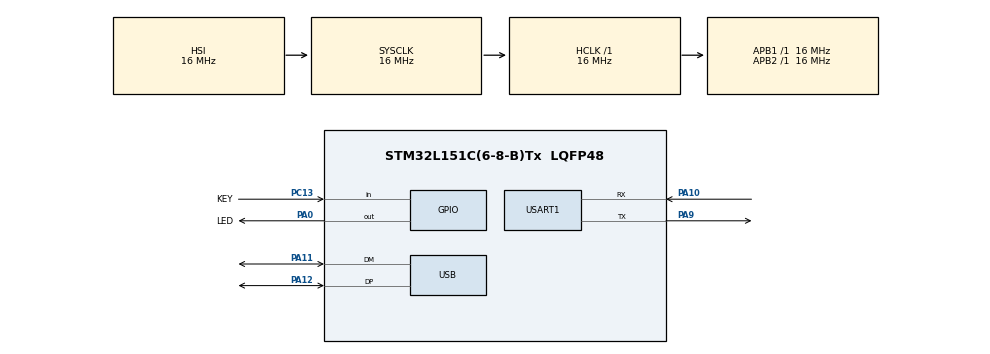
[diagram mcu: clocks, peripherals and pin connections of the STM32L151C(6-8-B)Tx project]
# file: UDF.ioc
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Mcu.Family=STM32L1
Mcu.Name=STM32L151C(6-8-B)Tx
Mcu.Package=LQFP48
NVIC.PriorityGroup=NVIC_PRIORITYGROUP_4
NVIC.USB_LP_IRQn=true\:0\:0\:false\:false\:true\:false\:true\:true
PA0-WKUP1.GPIO_Label=LED
PA0-WKUP1.Signal=GPIO_Output
PA10.Mode=Asynchronous
PA10.Signal=USART1_RX
PA11.Mode=Device
PA11.Signal=USB_DM
PA12.Mode=Device
PA12.Signal=USB_DP
PA13.Mode=Serial_Wire
PA13.Signal=SYS_JTMS-SWDIO
PA14.Mode=Serial_Wire
PA14.Signal=SYS_JTCK-SWCLK
PA9.Mode=Asynchronous
PA9.Signal=USART1_TX
PC13-WKUP2.GPIO_Label=KEY
PC13-WKUP2.GPIO_PuPd=GPIO_PULLUP
PC13-WKUP2.Signal=GPIO_Input
PC14-OSC32_IN.Mode=LSE-External-Oscillator
PC14-OSC32_IN.Signal=RCC_OSC32_IN
PC15-OSC32_OUT.Mode=LSE-External-Oscillator
PC15-OSC32_OUT.Signal=RCC_OSC32_OUT
PH0-OSC_IN.Mode=HSE-External-Oscillator
PH0-OSC_IN.Signal=RCC_OSC_IN
PH1-OSC_OUT.Mode=HSE-External-Oscillator
PH1-OSC_OUT.Signal=RCC_OSC_OUT
ProjectManager.HeapSize=0x200
ProjectManager.StackSize=0x400
ProjectManager.TargetToolchain=MDK-ARM V5.32
RCC.48MHZClocksFreq_Value=48000000
RCC.AHBFreq_Value=16000000
RCC.APB1Freq_Value=16000000
RCC.APB1TimFreq_Value=16000000
RCC.APB2Freq_Value=16000000
RCC.APB2TimFreq_Value=16000000
RCC.HCLKFreq_Value=16000000
RCC.HSE_VALUE=12000000
RCC.HSI_VALUE=16000000
RCC.MSI_VALUE=2097000
RCC.PLLMUL=RCC_PLL_MUL8
RCC.SYSCLKFreq_VALUE=16000000
RCC.SYSCLKSource=RCC_SYSCLKSOURCE_HSI
RCC.VCOOutputFreq_Value=96000000
USART1.VirtualMode=VM_ASYNC
USB.low_power_enable=DISABLE
USB.lpm_enable=DISABLE
USB_DEVICE.CLASS_NAME_FS=DFU
USB_DEVICE.MANUFACTURER_STRING=MadeByVecang
USB_DEVICE.USBD_DFU_APP_DEFAULT_ADD=0x08007000
USB_DEVICE.VirtualMode=Dfu
USB_DEVICE.VirtualModeFS=Dfu_FS
VP_USB_DEVICE_VS_USB_DEVICE_DFU_FS.Mode=DFU_FS
board=custom

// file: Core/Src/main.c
/* USER CODE BEGIN Header */
/**
 ******************************************************************************
 * @file           : main.c
 * @brief          : Main program body
 ******************************************************************************
 * @attention
 *
 * Copyright (c) 2024 STMicroelectronics.
 * All rights reserved.
 *
 * This software is licensed under terms that can be found in the LICENSE file
 * in the root directory of this software component.
 * If no LICENSE file comes with this software, it is provided AS-IS.
 *
 ******************************************************************************
 */
/* USER CODE END Header */
#include "main.h"
#include "usart.h"
#include "usb_device.h"
#include "gpio.h"

void SystemClock_Config(void);
/* USER CODE BEGIN PFP */
typedef void (*pFunction)(void);
/* USER CODE END PFP */

/* USER CODE BEGIN 0 */

#ifdef __GNUC__
#define PUTCHAR_PROTOTYPE int __io_putchar(int ch)
#else
#define PUTCHAR_PROTOTYPE int fputc(int ch, FILE *f)
#endif

PUTCHAR_PROTOTYPE
{
    HAL_UART_Transmit(&huart1, (uint8_t *)&ch, 1, 0xFFFF);
    return ch;
}
/* USER CODE END 0 */

int main(void)
{
  /* USER CODE BEGIN 1 */
#ifdef BOOT
  pFunction JumpToApplication;
  uint32_t JumpAddress;
#endif

  /* USER CODE END 1 */

  /* MCU Configuration--------------------------------------------------------*/

  /* Reset of all peripherals, Initializes the Flash interface and the Systick. */
  HAL_Init();

  /* Configure the system clock */
  SystemClock_Config();

  /* Initialize all configured peripherals */
  MX_GPIO_Init();

#ifdef BOOT
  MX_USB_DEVICE_Init();
#endif
  MX_USART1_UART_Init();
  /* USER CODE BEGIN 2 */

#ifdef APP
 printf("\r\n****** USB-DFU APP test******\r\n\r\n");
#endif

#ifdef BOOT
  printf("\r\n****** USB-DFU Example ******\r\n\r\n");

  // 读取key引脚电平决定是否进入APP以及判断APP程序入口地址是否存在或正�?
  // 按下按键进入DFU，不按按键进入Application程序
  if (HAL_GPIO_ReadPin(KEY_GPIO_Port, KEY_Pin) == GPIO_PIN_SET)
  {
    printf("Enter Application\r\n");
		uint32_t add = (*(__IO uint32_t *)(USBD_DFU_APP_DEFAULT_ADD));

		printf("ADD:%X\r\n",add);
    /* Test if user code is programmed starting from USBD_DFU_APP_DEFAULT_ADD address */
    if ((add & 0x2FFE0000) == 0x20000000)
    {
      /* Jump to user application */
      JumpAddress = *(__IO uint32_t *)(USBD_DFU_APP_DEFAULT_ADD + 4);
      JumpToApplication = (pFunction)JumpAddress;

      /* Initialize user application's Stack Pointer */
      __set_MSP(*(__IO uint32_t *)USBD_DFU_APP_DEFAULT_ADD);
      __disable_irq();
      JumpToApplication();
    }
  }
  printf("Key Down Enter DFU\r\n");
  MX_USB_DEVICE_Init();

#endif

  /* USER CODE END 2 */

  /* Infinite loop */
  while (1)
  {

  }
}

void SystemClock_Config(void)
{
  RCC_OscInitTypeDef RCC_OscInitStruct = {0};
  RCC_ClkInitTypeDef RCC_ClkInitStruct = {0};

  /** Configure the main internal regulator output voltage
  */
  __HAL_PWR_VOLTAGESCALING_CONFIG(PWR_REGULATOR_VOLTAGE_SCALE1);

  /** Initializes the RCC Oscillators according to the specified parameters
  * in the RCC_OscInitTypeDef structure.
  */
  RCC_OscInitStruct.OscillatorType = RCC_OSCILLATORTYPE_HSI|RCC_OSCILLATORTYPE_HSE;
  RCC_OscInitStruct.HSEState = RCC_HSE_ON;
  RCC_OscInitStruct.HSIState = RCC_HSI_ON;
  RCC_OscInitStruct.HSICalibrationValue = RCC_HSICALIBRATION_DEFAULT;
  RCC_OscInitStruct.PLL.PLLState = RCC_PLL_ON;
  RCC_OscInitStruct.PLL.PLLSource = RCC_PLLSOURCE_HSE;
  RCC_OscInitStruct.PLL.PLLMUL = RCC_PLL_MUL8;
  RCC_OscInitStruct.PLL.PLLDIV = RCC_PLL_DIV2;
  if (HAL_RCC_OscConfig(&RCC_OscInitStruct) != HAL_OK)
  {
    Error_Handler();
  }

  /** Initializes the CPU, AHB and APB buses clocks
  */
  RCC_ClkInitStruct.ClockType = RCC_CLOCKTYPE_HCLK|RCC_CLOCKTYPE_SYSCLK
                              |RCC_CLOCKTYPE_PCLK1|RCC_CLOCKTYPE_PCLK2;
  RCC_ClkInitStruct.SYSCLKSource = RCC_SYSCLKSOURCE_HSI;
  RCC_ClkInitStruct.AHBCLKDivider = RCC_SYSCLK_DIV1;
  RCC_ClkInitStruct.APB1CLKDivider = RCC_HCLK_DIV1;
  RCC_ClkInitStruct.APB2CLKDivider = RCC_HCLK_DIV1;

  if (HAL_RCC_ClockConfig(&RCC_ClkInitStruct, FLASH_LATENCY_0) != HAL_OK)
  {
    Error_Handler();
  }
}

void Error_Handler(void)
{
  __disable_irq();
  while (1)
  {
  }
}
